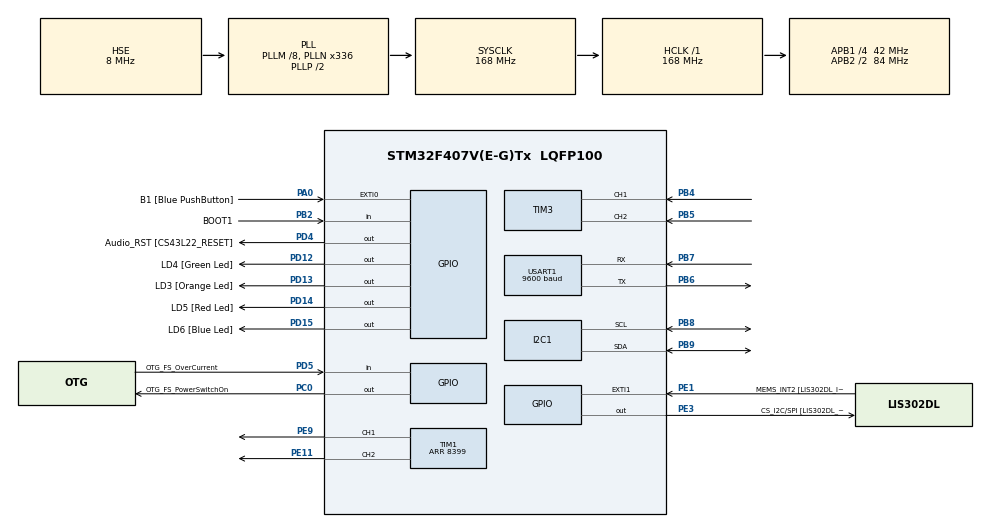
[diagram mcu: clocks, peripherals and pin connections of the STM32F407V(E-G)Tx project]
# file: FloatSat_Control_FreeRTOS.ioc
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FREERTOS.Tasks01=SensorTask,40,512,StartSensorTask,As weak,NULL,Dynamic,NULL,NULL;ControlTask,40,512,StartControlTask,As weak,NULL,Dynamic,NULL,NULL;SupervisorTask,32,384,StartSupervisorTask,As weak,NULL,Dynamic,NULL,NULL;MissionTask,24,384,StartMissionTask,As weak,NULL,Dynamic,NULL,NULL;TelemetryTask,8,256,StartTelemetryTask,As weak,NULL,Dynamic,NULL,NULL
FREERTOS.configTOTAL_HEAP_SIZE=32768
FREERTOS.configUSE_NEWLIB_REENTRANT=1
Mcu.Family=STM32F4
Mcu.Name=STM32F407V(E-G)Tx
Mcu.Package=LQFP100
NVIC.PriorityGroup=NVIC_PRIORITYGROUP_4
NVIC.TIM6_DAC_IRQn=true\:15\:0\:true\:false\:true\:false\:false\:true\:true
NVIC.TimeBase=TIM6_DAC_IRQn
NVIC.TimeBaseIP=TIM6
PA0-WKUP.GPIO_Label=B1 [Blue PushButton]
PA0-WKUP.Signal=GPXTI0
PA10.GPIO_Label=OTG_FS_ID
PA10.GPIO_Mode=GPIO_MODE_AF_PP
PA10.GPIO_PuPd=GPIO_NOPULL
PA10.GPIO_Speed=GPIO_SPEED_FREQ_LOW
PA10.Signal=USB_OTG_FS_ID
PA11.GPIO_Label=OTG_FS_DM
PA11.GPIO_Mode=GPIO_MODE_AF_PP
PA11.GPIO_PuPd=GPIO_NOPULL
PA11.GPIO_Speed=GPIO_SPEED_FREQ_LOW
PA11.Signal=USB_OTG_FS_DM
PA12.GPIO_Label=OTG_FS_DP
PA12.GPIO_Mode=GPIO_MODE_AF_PP
PA12.GPIO_PuPd=GPIO_NOPULL
PA12.GPIO_Speed=GPIO_SPEED_FREQ_LOW
PA12.Signal=USB_OTG_FS_DP
PA13.GPIO_Label=SWDIO
PA13.Mode=Serial_Wire
PA13.Signal=SYS_JTMS-SWDIO
PA14.GPIO_Label=SWCLK
PA14.Mode=Serial_Wire
PA14.Signal=SYS_JTCK-SWCLK
PA4.GPIO_Label=I2S3_WS [CS43L22_LRCK]
PA4.GPIO_Mode=GPIO_MODE_AF_PP
PA4.GPIO_PuPd=GPIO_NOPULL
PA4.GPIO_Speed=GPIO_SPEED_FREQ_LOW
PA4.Signal=I2S3_WS
PA6.GPIO_Label=SPI1_MISO [LIS302DL_SDO]
PA6.GPIO_Mode=GPIO_MODE_AF_PP
PA6.GPIO_PuPd=GPIO_NOPULL
PA6.GPIO_Speed=GPIO_SPEED_FREQ_LOW
PA6.Signal=SPI1_MISO
PA7.GPIO_Label=SPI1_MOSI [LIS302DL_SDA/SDI/SDO]
PA7.GPIO_Mode=GPIO_MODE_AF_PP
PA7.GPIO_PuPd=GPIO_NOPULL
PA7.GPIO_Speed=GPIO_SPEED_FREQ_LOW
PA7.Signal=SPI1_MOSI
PA9.GPIO_Label=VBUS_FS
PA9.GPIO_Mode=GPIO_MODE_INPUT
PA9.GPIO_PuPd=GPIO_NOPULL
PA9.Signal=USB_OTG_FS_VBUS
PB10.GPIO_Label=CLK_IN [MP45DT02_CLK]
PB10.GPIO_Mode=GPIO_MODE_AF_PP
PB10.GPIO_PuPd=GPIO_NOPULL
PB10.GPIO_Speed=GPIO_SPEED_FREQ_LOW
PB10.Signal=I2S2_CK
PB2.GPIO_Label=BOOT1
PB2.GPIO_Mode=GPIO_MODE_INPUT
PB2.GPIO_PuPd=GPIO_NOPULL
PB2.Signal=GPIO_Input
PB3.GPIO_Label=SWO
PB3.Signal=SYS_JTDO-SWO
PB4.Signal=S_TIM3_CH1
PB5.Signal=S_TIM3_CH2
PB6.Mode=Asynchronous
PB6.Signal=USART1_TX
PB7.Mode=Asynchronous
PB7.Signal=USART1_RX
PB8.Mode=I2C
PB8.Signal=I2C1_SCL
PB9.Mode=I2C
PB9.Signal=I2C1_SDA
PC0.GPIO_Label=OTG_FS_PowerSwitchOn
PC0.GPIO_PuPd=GPIO_NOPULL
PC0.GPIO_Speed=GPIO_SPEED_FREQ_LOW
PC0.PinState=GPIO_PIN_SET
PC0.Signal=GPIO_Output
PC10.GPIO_Label=I2S3_SCK [CS43L22_SCLK]
PC10.GPIO_Mode=GPIO_MODE_AF_PP
PC10.GPIO_PuPd=GPIO_NOPULL
PC10.GPIO_Speed=GPIO_SPEED_FREQ_LOW
PC10.Signal=I2S3_CK
PC12.GPIO_Label=I2S3_SD [CS43L22_SDIN]
PC12.GPIO_Mode=GPIO_MODE_AF_PP
PC12.GPIO_PuPd=GPIO_NOPULL
PC12.GPIO_Speed=GPIO_SPEED_FREQ_LOW
PC12.Signal=I2S3_SD
PC14-OSC32_IN.GPIO_Label=PC14-OSC32_IN
PC14-OSC32_IN.Signal=RCC_OSC32_IN
PC15-OSC32_OUT.GPIO_Label=PC15-OSC32_OUT
PC15-OSC32_OUT.Signal=RCC_OSC32_OUT
PC3.GPIO_Label=PDM_OUT [MP45DT02_DOUT]
PC3.GPIO_Mode=GPIO_MODE_AF_PP
PC3.GPIO_PuPd=GPIO_NOPULL
PC3.GPIO_Speed=GPIO_SPEED_FREQ_LOW
PC3.Signal=I2S2_SD
PC7.GPIO_Label=I2S3_MCK [CS43L22_MCLK]
PC7.GPIO_Mode=GPIO_MODE_AF_PP
PC7.GPIO_PuPd=GPIO_NOPULL
PC7.GPIO_Speed=GPIO_SPEED_FREQ_LOW
PC7.Signal=I2S3_MCK
PD12.GPIO_Label=LD4 [Green Led]
PD12.GPIO_PuPd=GPIO_NOPULL
PD12.GPIO_Speed=GPIO_SPEED_FREQ_LOW
PD12.Signal=GPIO_Output
PD13.GPIO_Label=LD3 [Orange Led]
PD13.GPIO_PuPd=GPIO_NOPULL
PD13.GPIO_Speed=GPIO_SPEED_FREQ_LOW
PD13.Signal=GPIO_Output
PD14.GPIO_Label=LD5 [Red Led]
PD14.GPIO_PuPd=GPIO_NOPULL
PD14.GPIO_Speed=GPIO_SPEED_FREQ_LOW
PD14.Signal=GPIO_Output
PD15.GPIO_Label=LD6 [Blue Led]
PD15.GPIO_PuPd=GPIO_NOPULL
PD15.GPIO_Speed=GPIO_SPEED_FREQ_LOW
PD15.Signal=GPIO_Output
PD4.GPIO_Label=Audio_RST [CS43L22_RESET]
PD4.GPIO_PuPd=GPIO_NOPULL
PD4.GPIO_Speed=GPIO_SPEED_FREQ_LOW
PD4.Signal=GPIO_Output
PD5.GPIO_Label=OTG_FS_OverCurrent
PD5.GPIO_Mode=GPIO_MODE_INPUT
PD5.GPIO_PuPd=GPIO_NOPULL
PD5.Signal=GPIO_Input
PE1.GPIO_Label=MEMS_INT2 [LIS302DL_INT2]
PE1.GPIO_ModeDefaultEXTI=GPIO_MODE_EVT_RISING
PE1.GPIO_PuPd=GPIO_NOPULL
PE1.Signal=GPXTI1
PE11.Signal=S_TIM1_CH2
PE3.GPIO_Label=CS_I2C/SPI [LIS302DL_CS_I2C/SPI]
PE3.GPIO_PuPd=GPIO_NOPULL
PE3.GPIO_Speed=GPIO_SPEED_FREQ_LOW
PE3.Signal=GPIO_Output
PE9.Signal=S_TIM1_CH1
PH0-OSC_IN.GPIO_Label=PH0-OSC_IN
PH0-OSC_IN.Mode=HSE-External-Clock-Source
PH0-OSC_IN.Signal=RCC_OSC_IN
PH1-OSC_OUT.GPIO_Label=PH1-OSC_OUT
PH1-OSC_OUT.Mode=HSE-External-Clock-Source
PH1-OSC_OUT.Signal=RCC_OSC_OUT
ProjectManager.HeapSize=0x200
ProjectManager.StackSize=0x400
ProjectManager.TargetToolchain=STM32CubeIDE
RCC.48MHZClocksFreq_Value=48000000
RCC.AHBFreq_Value=168000000
RCC.APB1CLKDivider=RCC_HCLK_DIV4
RCC.APB1Freq_Value=42000000
RCC.APB1TimFreq_Value=84000000
RCC.APB2CLKDivider=RCC_HCLK_DIV2
RCC.APB2Freq_Value=84000000
RCC.APB2TimFreq_Value=168000000
RCC.CortexFreq_Value=168000000
RCC.HCLKFreq_Value=168000000
RCC.HSE_VALUE=8000000
RCC.HSI_VALUE=16000000
RCC.LSE_VALUE=32768
RCC.PLLM=8
RCC.PLLN=336
RCC.PLLQ=7
RCC.PLLSourceVirtual=RCC_PLLSOURCE_HSE
RCC.SYSCLKFreq_VALUE=168000000
RCC.SYSCLKSource=RCC_SYSCLKSOURCE_PLLCLK
RCC.VCOOutputFreq_Value=336000000
SH.S_TIM1_CH1.0=TIM1_CH1,PWM Generation1 CH1
SH.S_TIM1_CH2.0=TIM1_CH2,PWM Generation2 CH2
SH.S_TIM3_CH1.0=TIM3_CH1,Encoder_Interface
SH.S_TIM3_CH2.0=TIM3_CH2,Encoder_Interface
TIM1.AutoReloadPreload=TIM_AUTORELOAD_PRELOAD_ENABLE
TIM1.Channel-PWM\ Generation1\ CH1=TIM_CHANNEL_1
TIM1.Channel-PWM\ Generation2\ CH2=TIM_CHANNEL_2
TIM1.OC1Preload_PWM=ENABLE
TIM1.OC2Preload_PWM=ENABLE
TIM1.Period=8399
TIM3.EncoderMode=TIM_ENCODERMODE_TI12
TIM3.IC1Filter=4
USART1.BaudRate=9600
USART1.VirtualMode=VM_ASYNC
VP_FREERTOS_VS_CMSIS_V2.Mode=CMSIS_V2
VP_SYS_VS_tim6.Mode=TIM6
VP_TIM1_VS_ClockSourceINT.Mode=Internal
board=STM32F407G-DISC1

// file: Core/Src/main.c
/* USER CODE BEGIN Header */
/**
  ******************************************************************************
  * @file           : main.c
  * @brief          : Punto de entrada principal de la aplicación.
  *
  * Este archivo realiza la secuencia general de arranque:
  *
  *   1. Inicializa la biblioteca HAL.
  *   2. Configura el reloj del microcontrolador.
  *   3. Inicializa GPIO, I2C, temporizadores y UART.
  *   4. Inicializa el kernel de FreeRTOS.
  *   5. Crea las tareas y objetos del sistema.
  *   6. Inicia el planificador de FreeRTOS.
  *
  * Después de iniciar el scheduler, la ejecución normal queda repartida
  * entre las tareas definidas en freertos.c.
  ******************************************************************************
  * @attention
  *
  * Copyright (c) 2026 STMicroelectronics.
  * All rights reserved.
  *
  * This software is licensed under terms that can be found in the LICENSE file
  * in the root directory of this software component.
  * If no LICENSE file comes with this software, it is provided AS-IS.
  *
  ******************************************************************************
  */
/* USER CODE END Header */

/*
 * main.h contiene:
 *
 *   - Definiciones generales del proyecto.
 *   - Nombres de pines y puertos GPIO.
 *   - Prototipo de Error_Handler().
 *   - Inclusión principal de la biblioteca HAL.
 */
#include "main.h"

/*
 * cmsis_os.h proporciona la API CMSIS-RTOS utilizada para:
 *
 *   - Inicializar el kernel.
 *   - Crear tareas.
 *   - Iniciar el scheduler.
 *   - Aplicar retardos desde las tareas.
 */
#include "cmsis_os.h"

/*
 * Declaraciones de:
 *
 *   hi2c1
 *   MX_I2C1_Init()
 *
 * I2C1 se utiliza para comunicarse con la IMU.
 */
#include "i2c.h"

/*
 * Declaraciones de los temporizadores configurados.
 *
 * En este proyecto:
 *
 *   TIM1 se utiliza para generar PWM del motor.
 *   TIM3 se utiliza para la lectura del encoder.
 */
#include "tim.h"

/*
 * Declaraciones del periférico UART.
 *
 * USART1 se utiliza para comunicación serial, por ejemplo con el HC-05
 * o para transmisión de telemetría.
 */
#include "usart.h"

/*
 * Declaración de MX_GPIO_Init() y definiciones de los GPIO utilizados.
 */
#include "gpio.h"

/* USER CODE BEGIN Includes */

/*
 * Espacio reservado para incluir librerías adicionales.
 *
 * El contenido colocado aquí será conservado por STM32CubeMX.
 */

/* USER CODE END Includes */

/* USER CODE BEGIN PTD */

/*
 * Espacio reservado para declarar tipos privados:
 *
 *   typedef struct
 *   typedef enum
 *   alias de tipos
 */

/* USER CODE END PTD */

/* USER CODE BEGIN PD */

/*
 * Espacio reservado para constantes privadas definidas mediante #define.
 */

/* USER CODE END PD */

/* USER CODE BEGIN PM */

/*
 * Espacio reservado para macros privadas.
 */

/* USER CODE END PM */

/*
 * No existen variables privadas generadas directamente en este archivo.
 *
 * Las variables principales del sistema se encuentran en otros módulos,
 * especialmente freertos.c y los drivers correspondientes.
 */

/* USER CODE BEGIN PV */

/*
 * Espacio reservado para variables privadas del usuario.
 */

/* USER CODE END PV */

/*
 * Configura los osciladores, PLL y divisores de los buses.
 */
void SystemClock_Config(void);

/*
 * Inicializa los objetos de FreeRTOS y crea las tareas.
 *
 * Su implementación está en freertos.c.
 */
void MX_FREERTOS_Init(void);

/* USER CODE BEGIN PFP */

/*
 * Espacio reservado para prototipos de funciones privadas adicionales.
 */

/* USER CODE END PFP */

/* USER CODE BEGIN 0 */

/*
 * Espacio reservado para funciones auxiliares o código privado
 * colocado antes de main().
 */

/* USER CODE END 0 */

/**
  * @brief Punto de entrada principal de la aplicación.
  *
  * La función main() solamente realiza la configuración inicial.
  * Después de iniciar FreeRTOS, la lógica permanente se ejecuta
  * dentro de las diferentes tareas.
  *
  * @retval int
  *         En funcionamiento normal esta función nunca retorna.
  */
int main(void)
{
  /* USER CODE BEGIN 1 */

  /*
   * Espacio reservado para variables locales o instrucciones que deban
   * ejecutarse antes de HAL_Init().
   *
   * En esta etapa todavía no se han inicializado los periféricos.
   */

  /* USER CODE END 1 */

  /* MCU Configuration--------------------------------------------------------*/

  /*
   * Inicializar la biblioteca HAL.
   *
   * HAL_Init() realiza tareas básicas como:
   *
   *   - Reinicializar el estado de los periféricos HAL.
   *   - Configurar la base de tiempo utilizada por HAL.
   *   - Configurar prioridades iniciales del sistema.
   *   - Inicializar aspectos básicos del controlador de Flash.
   *
   * En este proyecto, el incremento del tick HAL se realiza mediante TIM6,
   * como se observa en HAL_TIM_PeriodElapsedCallback().
   */
  HAL_Init();

  /* USER CODE BEGIN Init */

  /*
   * Espacio reservado para código inmediatamente posterior a HAL_Init()
   * y anterior a la configuración del reloj principal.
   */

  /* USER CODE END Init */

  /*
   * Configurar el reloj del microcontrolador.
   *
   * Esta función selecciona:
   *
   *   - Fuente HSE externa en modo bypass.
   *   - PLL como multiplicador principal.
   *   - Divisores de AHB, APB1 y APB2.
   */
  SystemClock_Config();

  /* USER CODE BEGIN SysInit */

  /*
   * Espacio reservado para código posterior a la configuración del reloj
   * y anterior a la inicialización de los periféricos.
   */

  /* USER CODE END SysInit */

  /* Initialize all configured peripherals */

  /*
   * Inicializar todos los GPIO:
   *
   *   - LEDs.
   *   - Botón.
   *   - USB.
   *   - Pines de audio.
   *   - Pines con funciones alternativas.
   */
  MX_GPIO_Init();

  /*
   * Inicializar I2C1:
   *
   *   PB8 -> SCL.
   *   PB9 -> SDA.
   *   Frecuencia -> 100 kHz.
   *
   * Se utiliza para la comunicación con la IMU.
   */
  MX_I2C1_Init();

  /*
   * Inicializar TIM1.
   *
   * En el proyecto FloatSat, TIM1 proporciona los dos canales PWM
   * utilizados para controlar los sentidos del motor.
   *
   * Esta función configura el temporizador, pero el inicio de los canales
   * PWM suele realizarse posteriormente mediante HAL_TIM_PWM_Start().
   */
  MX_TIM1_Init();

  /*
   * Inicializar TIM3.
   *
   * En el proyecto se utiliza como interfaz de encoder.
   *
   * Esta función configura el periférico, pero el conteo debe iniciarse
   * posteriormente con la función HAL correspondiente.
   */
  MX_TIM3_Init();

  /*
   * Inicializar USART1.
   *
   * Se utiliza para comunicación serial y telemetría.
   */
  MX_USART1_UART_Init();

  /* USER CODE BEGIN 2 */

  /*
   * Espacio reservado para código posterior a la inicialización
   * de todos los periféricos y anterior a FreeRTOS.
   *
   * En esta sección podrían iniciarse periféricos que deban estar activos
   * antes del scheduler, siempre que no se utilicen funciones RTOS.
   */

  /* USER CODE END 2 */

  /* Init scheduler */

  /*
   * Inicializar el kernel CMSIS-RTOS.
   *
   * Después de esta llamada pueden crearse tareas, colas, mutexes
   * y otros objetos del sistema operativo.
   *
   * El scheduler todavía no comienza a ejecutar tareas.
   */
  osKernelInitialize();

  /*
   * Crear los objetos de FreeRTOS definidos en freertos.c.
   *
   * En el código mostrado anteriormente esta función crea:
   *
   *   - SensorTask.
   *   - ControlTask.
   *   - SupervisorTask.
   *   - MissionTask.
   *   - TelemetryTask.
   */
  MX_FREERTOS_Init();

  /* Start scheduler */

  /*
   * Iniciar el scheduler de FreeRTOS.
   *
   * A partir de este punto, el kernel selecciona qué tarea debe ejecutarse
   * según su prioridad y estado.
   *
   * En funcionamiento normal, osKernelStart() no retorna.
   */
  osKernelStart();

  /*
   * Si la ejecución llega hasta aquí, significa que el scheduler:
   *
   *   - No pudo iniciar.
   *   - Terminó de forma inesperada.
   *   - Se produjo algún problema grave de configuración.
   */

  /* Infinite loop */
  /* USER CODE BEGIN WHILE */

  /*
   * Bucle de seguridad.
   *
   * No debería ejecutarse durante el funcionamiento normal porque
   * el control debería permanecer en FreeRTOS.
   */
  while (1)
  {
    /* USER CODE END WHILE */

    /* USER CODE BEGIN 3 */

    /*
     * Espacio reservado para código dentro del bucle de seguridad.
     *
     * No es recomendable colocar aquí lógica normal de la aplicación,
     * porque no se ejecutará mientras el scheduler funcione correctamente.
     */

  }

  /* USER CODE END 3 */
}

/* -------------------------------------------------------------------------- */
/* Configuración del reloj del sistema                                        */
/* -------------------------------------------------------------------------- */

/**
  * @brief Configura el reloj principal del STM32.
  *
  * La configuración utiliza:
  *
  *   - HSE externo en modo bypass.
  *   - PLL activado.
  *   - PLL como fuente del reloj del sistema.
  *
  * Parámetros:
  *
  *   PLLM = 8
  *   PLLN = 336
  *   PLLP = 2
  *   PLLQ = 7
  *
  * Si la entrada HSE es de 8 MHz:
  *
  *   PLL entrada = 8 MHz / 8 = 1 MHz
  *   PLL VCO     = 1 MHz × 336 = 336 MHz
  *   SYSCLK      = 336 MHz / 2 = 168 MHz
  *   USB clock   = 336 MHz / 7 = 48 MHz
  *
  * @retval None
  */
void SystemClock_Config(void)
{
  /*
   * Estructura que contiene la configuración de los osciladores
   * y del PLL.
   */
  RCC_OscInitTypeDef RCC_OscInitStruct = {0};

  /*
   * Estructura que contiene la fuente del reloj del sistema
   * y los divisores de los buses.
   */
  RCC_ClkInitTypeDef RCC_ClkInitStruct = {0};

  /*
   * Habilitar el reloj del bloque de alimentación PWR.
   *
   * Es necesario para configurar la escala de voltaje interna.
   */
  __HAL_RCC_PWR_CLK_ENABLE();

  /*
   * Seleccionar Voltage Scale 1.
   *
   * Esta escala permite operar el STM32F4 a las frecuencias más altas
   * previstas por esta configuración.
   */
  __HAL_PWR_VOLTAGESCALING_CONFIG(
      PWR_REGULATOR_VOLTAGE_SCALE1);

  /*
   * Seleccionar el oscilador externo de alta velocidad HSE.
   */
  RCC_OscInitStruct.OscillatorType =
      RCC_OSCILLATORTYPE_HSE;

  /*
   * Configurar HSE en modo bypass.
   *
   * En este modo el STM32 espera recibir una señal de reloj externa
   * ya generada, en lugar de controlar directamente un cristal.
   */
  RCC_OscInitStruct.HSEState =
      RCC_HSE_BYPASS;

  /*
   * Activar el PLL.
   */
  RCC_OscInitStruct.PLL.PLLState =
      RCC_PLL_ON;

  /*
   * Utilizar HSE como fuente de entrada del PLL.
   */
  RCC_OscInitStruct.PLL.PLLSource =
      RCC_PLLSOURCE_HSE;

  /*
   * Dividir la frecuencia de entrada HSE entre 8 antes de entrar al PLL.
   */
  RCC_OscInitStruct.PLL.PLLM = 8;

  /*
   * Multiplicar la frecuencia resultante por 336.
   */
  RCC_OscInitStruct.PLL.PLLN = 336;

  /*
   * Dividir la salida principal del PLL entre 2 para producir SYSCLK.
   */
  RCC_OscInitStruct.PLL.PLLP =
      RCC_PLLP_DIV2;

  /*
   * Dividir la salida VCO del PLL entre 7.
   *
   * Este reloj se utiliza para periféricos que requieren 48 MHz,
   * como USB OTG FS.
   */
  RCC_OscInitStruct.PLL.PLLQ = 7;

  /*
   * Aplicar la configuración de osciladores y PLL.
   */
  if (HAL_RCC_OscConfig(&RCC_OscInitStruct) != HAL_OK)
  {
    /*
     * Si el oscilador o PLL no pueden configurarse, detener el sistema.
     */
    Error_Handler();
  }

  /*
   * Seleccionar qué relojes serán configurados:
   *
   *   SYSCLK -> reloj principal.
   *   HCLK   -> bus AHB y CPU.
   *   PCLK1  -> bus APB1.
   *   PCLK2  -> bus APB2.
   */
  RCC_ClkInitStruct.ClockType =
      RCC_CLOCKTYPE_HCLK |
      RCC_CLOCKTYPE_SYSCLK |
      RCC_CLOCKTYPE_PCLK1 |
      RCC_CLOCKTYPE_PCLK2;

  /*
   * Utilizar la salida del PLL como reloj principal del sistema.
   */
  RCC_ClkInitStruct.SYSCLKSource =
      RCC_SYSCLKSOURCE_PLLCLK;

  /*
   * AHB sin división:
   *
   *   HCLK = SYSCLK
   *
   * Con SYSCLK de 168 MHz:
   *
   *   HCLK = 168 MHz
   */
  RCC_ClkInitStruct.AHBCLKDivider =
      RCC_SYSCLK_DIV1;

  /*
   * Dividir HCLK entre 4 para APB1:
   *
   *   PCLK1 = 168 MHz / 4 = 42 MHz
   *
   * APB1 alimenta periféricos como:
   *
   *   - I2C1.
   *   - TIM3.
   *   - USART2/3.
   */
  RCC_ClkInitStruct.APB1CLKDivider =
      RCC_HCLK_DIV4;

  /*
   * Dividir HCLK entre 2 para APB2:
   *
   *   PCLK2 = 168 MHz / 2 = 84 MHz
   *
   * APB2 alimenta periféricos como:
   *
   *   - TIM1.
   *   - USART1.
   *   - SPI1.
   */
  RCC_ClkInitStruct.APB2CLKDivider =
      RCC_HCLK_DIV2;

  /*
   * Aplicar la configuración de relojes.
   *
   * FLASH_LATENCY_5 configura cinco estados de espera de Flash,
   * necesarios para trabajar a la frecuencia seleccionada.
   */
  if (HAL_RCC_ClockConfig(
          &RCC_ClkInitStruct,
          FLASH_LATENCY_5) != HAL_OK)
  {
    Error_Handler();
  }
}

/* USER CODE BEGIN 4 */

/*
 * Espacio reservado para funciones adicionales del usuario.
 *
 * El contenido será conservado por STM32CubeMX.
 */

/* USER CODE END 4 */

/* -------------------------------------------------------------------------- */
/* Callback de la base de tiempo HAL                                          */
/* -------------------------------------------------------------------------- */

/**
  * @brief Callback ejecutado al completarse un periodo de temporizador.
  *
  * Esta función es llamada desde HAL_TIM_IRQHandler().
  *
  * En este proyecto, TIM6 se utiliza como base de tiempo de HAL.
  * Cada interrupción de TIM6 incrementa la variable global uwTick.
  *
  * uwTick es utilizada por funciones como:
  *
  *   HAL_GetTick()
  *   HAL_Delay()
  *   timeouts de HAL_I2C
  *   timeouts de HAL_UART
  *
  * @param htim Puntero al manejador del temporizador que generó
  *             la interrupción.
  *
  * @retval None
  */
void HAL_TIM_PeriodElapsedCallback(
    TIM_HandleTypeDef *htim)
{
  /* USER CODE BEGIN Callback 0 */

  /*
   * Espacio reservado para código que deba ejecutarse antes
   * de la lógica generada.
   *
   * Este callback se ejecuta en contexto de interrupción.
   * No deben utilizarse aquí funciones bloqueantes como osDelay().
   */

  /* USER CODE END Callback 0 */

  /*
   * Comprobar que la interrupción proviene específicamente de TIM6.
   */
  if (htim->Instance == TIM6)
  {
    /*
     * Incrementar el contador de tiempo de HAL en un tick.
     *
     * Normalmente el tick está configurado para representar 1 ms.
     */
    HAL_IncTick();
  }

  /* USER CODE BEGIN Callback 1 */

  /*
   * Espacio reservado para código posterior al incremento del tick.
   *
   * También se ejecuta en contexto de interrupción.
   */

  /* USER CODE END Callback 1 */
}

/* -------------------------------------------------------------------------- */
/* Manejador general de errores                                               */
/* -------------------------------------------------------------------------- */

/**
  * @brief Se ejecuta cuando ocurre un error crítico de inicialización.
  *
  * La implementación actual:
  *
  *   1. Deshabilita todas las interrupciones.
  *   2. Entra en un bucle infinito.
  *
  * Esto detiene completamente la ejecución del sistema para evitar
  * continuar con una configuración inválida.
  *
  * @retval None
  */
void Error_Handler(void)
{
  /* USER CODE BEGIN Error_Handler_Debug */

  /*
   * Deshabilitar globalmente las interrupciones.
   *
   * Después de esta instrucción:
   *
   *   - FreeRTOS no puede realizar cambios de tarea.
   *   - Los temporizadores no ejecutan callbacks.
   *   - La comunicación por interrupciones queda detenida.
   */
  __disable_irq();

  /*
   * Permanecer bloqueado indefinidamente.
   */
  while (1)
  {
    /*
     * Aquí podrían agregarse señales de diagnóstico, aunque con las
     * interrupciones deshabilitadas solo deberían usarse operaciones
     * directas y no bloqueantes.
     */
  }

  /* USER CODE END Error_Handler_Debug */
}

/* -------------------------------------------------------------------------- */
/* Diagnóstico de aserciones HAL                                              */
/* -------------------------------------------------------------------------- */

#ifdef USE_FULL_ASSERT

/**
  * @brief Informa dónde ocurrió una aserción inválida.
  *
  * Esta función solo se compila cuando USE_FULL_ASSERT está definido.
  *
  * Las macros assert_param() de HAL pueden llamar esta función cuando
  * reciben un parámetro fuera del rango permitido.
  *
  * @param file Nombre del archivo fuente donde ocurrió el error.
  * @param line Número de línea donde ocurrió el error.
  *
  * @retval None
  */
void assert_failed(uint8_t *file,
                   uint32_t line)
{
  /* USER CODE BEGIN 6 */

  /*
   * Espacio reservado para reportar el error.
   *
   * Ejemplo:
   *
   * printf("Parametro incorrecto: archivo %s, linea %lu\r\n",
   *        file,
   *        line);
   *
   * En la implementación actual no se realiza ninguna acción.
   */

  /*
   * Los parámetros no se utilizan actualmente.
   *
   * Dependiendo de las opciones del compilador, esto podría generar
   * advertencias por parámetros sin usar.
   */

  /* USER CODE END 6 */
}

#endif /* USE_FULL_ASSERT */

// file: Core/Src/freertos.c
/* USER CODE BEGIN Header */
/**
  ******************************************************************************
  * File Name          : freertos.c
  * Description        : Inicialización y elementos asociados a FreeRTOS.
  *
  * Este archivo contiene:
  *
  *   - Definición y creación de las tareas del sistema.
  *   - Variables globales de diagnóstico y telemetría.
  *   - Parámetros generales del FloatSat.
  *   - Funciones auxiliares para controlar el motor.
  *   - Función de recuperación del bus I2C1.
  *
  * Las secciones delimitadas por USER CODE BEGIN / END son conservadas
  * por STM32CubeMX cuando se vuelve a generar el código.
  ******************************************************************************
  */
/* USER CODE END Header */

/*
 * FreeRTOS.h:
 * definiciones principales del kernel FreeRTOS.
 */
#include "FreeRTOS.h"

/*
 * task.h:
 * API nativa de tareas de FreeRTOS.
 */
#include "task.h"

/*
 * main.h:
 * definiciones generales del proyecto, pines, GPIO y funciones globales.
 */
#include "main.h"

/*
 * cmsis_os.h:
 * capa CMSIS-RTOS utilizada para crear tareas mediante osThreadNew(),
 * aplicar retardos mediante osDelay(), etc.
 */
#include "cmsis_os.h"

/* USER CODE BEGIN Includes */

/*
 * tim.h:
 * declara los manejadores de temporizadores, especialmente htim1,
 * utilizado para generar el PWM del motor.
 */
#include "tim.h"

/*
 * gpio.h:
 * declara la inicialización y configuración general de los GPIO.
 */
#include "gpio.h"

/*
 * i2c.h:
 * declara hi2c1 y MX_I2C1_Init(), utilizados para comunicarse con la IMU.
 */
#include "i2c.h"

/*
 * Driver de lectura y configuración de la IMU LSM9DS1.
 */
#include "floatsat_imu.h"

/*
 * Cálculo de orientación instantánea mediante acelerómetro y magnetómetro.
 */
#include "floatsat_orientation.h"

/*
 * Calibración del magnetómetro mediante mínimos, máximos, bias y escalas.
 */
#include "floatsat_mag_calibration.h"

/*
 * Calibración del bias del giroscopio.
 */
#include "floatsat_gyro_calibration.h"

/*
 * Filtro Madgwick para estimar la orientación mediante cuaterniones.
 */
#include "floatsat_madgwick.h"

/*
 * Máquina de estados, control de yaw y secuencia de misión.
 */
#include "floatsat_mission.h"

/*
 * Verificación de que floatsat_mission.h define la versión de su API.
 *
 * Sin esta constante podría estar utilizándose un archivo de cabecera
 * antiguo que no coincida con mission.c o freertos.c.
 */
#ifndef FS_MISSION_API_VERSION
#error "Header floatsat_mission.h incorrecto. Reemplace los tres archivos del paquete API v2."
#endif

/*
 * Este freertos.c requiere exactamente la API 3.0:
 *
 *   0x0300U
 */
#if (FS_MISSION_API_VERSION != 0x0300U)
#error "Version incompatible de floatsat_mission.h. Use el paquete API V3 completo."
#endif

/* USER CODE END Includes */

/* USER CODE BEGIN PTD */

/*
 * Los tipos relacionados con la misión, como:
 *
 *   FS_Mission_t
 *   FS_MissionState_t
 *   FS_MissionInput_t
 *   FS_MissionOutput_t
 *
 * están declarados en floatsat_mission.h.
 */

/* USER CODE END PTD */

/* USER CODE BEGIN PD */

/*
 * Periodo previsto para el ciclo de control del motor.
 *
 * 10 ms equivale a una frecuencia de:
 *
 *   1 / 0.010 s = 100 Hz
 */
#define FS_MOTOR_CONTROL_PERIOD_MS           10U

/*
 * Duración de la calibración del magnetómetro.
 *
 * 30000 ms = 30 segundos.
 */
#define FS_MAG_CALIBRATION_DURATION_MS       30000U

/*
 * Parámetros de calibración magnética previamente obtenidos.
 *
 * Los bias corrigen desplazamientos de hard-iron:
 *
 *   corregido = valor_original - bias
 *
 * Los factores de escala compensan diferencias entre ejes:
 *
 *   corregido = (valor_original - bias) * escala
 */
#define FS_MAG_PRESET_BIAS_X_GAUSS           (0.030520f)
#define FS_MAG_PRESET_BIAS_Y_GAUSS           (0.485310f)
#define FS_MAG_PRESET_BIAS_Z_GAUSS           (0.017780f)

#define FS_MAG_PRESET_SCALE_X                 (0.954103f)
#define FS_MAG_PRESET_SCALE_Y                 (1.120244f)
#define FS_MAG_PRESET_SCALE_Z                 (0.944080f)

/*
 * Calidad registrada durante la calibración que produjo
 * los parámetros anteriores.
 */
#define FS_MAG_PRESET_QUALITY                 (0.842745f)

/*
 * Cantidad de muestras válidas requeridas para calcular
 * el bias del giroscopio.
 *
 * A 100 Hz:
 *
 *   500 muestras = aproximadamente 5 segundos.
 */
#define FS_GYRO_CALIBRATION_TARGET_SAMPLES    500U

/*
 * Tiempo máximo permitido para terminar la calibración del giroscopio.
 */
#define FS_GYRO_CALIBRATION_TIMEOUT_MS        20000U

/*
 * Parámetros del filtro Madgwick.
 *
 * Un periodo de 0.010 s corresponde a 100 Hz.
 */
#define FS_MADGWICK_SAMPLE_PERIOD_S           (0.010f)

/*
 * Ganancia de corrección del filtro.
 *
 * Un beta mayor produce correcciones más rápidas, pero puede aumentar
 * la sensibilidad al ruido del acelerómetro y magnetómetro.
 */
#define FS_MADGWICK_BETA_DEFAULT              (0.100f)

/* USER CODE END PD */

/* USER CODE BEGIN PM */

/*
 * No se han definido macros privadas adicionales.
 */

/* USER CODE END PM */

/* USER CODE BEGIN Variables */

/*
 * La mayoría de estas variables son volatile porque pueden ser:
 *
 *   - Modificadas por una tarea.
 *   - Leídas por otra tarea.
 *   - Observadas mediante Live Expressions del depurador.
 *
 * volatile obliga al compilador a acceder realmente a memoria cada vez,
 * pero por sí solo no proporciona exclusión mutua entre tareas.
 */

/* -------------------------------------------------------------------------- */
/* Estado general de las misiones                                             */
/* -------------------------------------------------------------------------- */

/*
 * Habilitación general de la misión.
 *
 *   1U = misión habilitada.
 *   0U = misión deshabilitada y motor detenido.
 */
volatile uint8_t fs_mission_enable = 1U;

/*
 * Estado actual de la máquina de estados de misión.
 */
volatile FS_MissionState_t fs_mission_state =
    FS_MISSION_WAIT_READY;

/*
 * Indica si toda la cadena de actitud es válida:
 *
 *   IMU + calibraciones + Madgwick.
 */
volatile uint8_t fs_mission_attitude_chain_ok = 0U;

/*
 * Indica si el FloatSat se encuentra suficientemente nivelado.
 */
volatile uint8_t fs_mission_level_ok = 0U;

/*
 * Indica si se cumplen todas las condiciones necesarias para iniciar.
 */
volatile uint8_t fs_mission_initial_ready = 0U;

/*
 * Índice del objetivo actual de yaw de la misión 1.
 */
volatile uint8_t fs_mission_target_index = 0U;

/*
 * Bandera de finalización completa de las misiones.
 */
volatile uint8_t fs_mission_complete = 0U;

/*
 * Ángulo de yaw que la misión intenta alcanzar.
 */
volatile float fs_mission_target_yaw_deg = 0.0f;

/*
 * Diferencia angular entre el objetivo y el yaw actual.
 */
volatile float fs_mission_yaw_error_deg = 0.0f;

/*
 * Tiempo transcurrido dentro del estado actual.
 */
volatile uint32_t fs_mission_state_elapsed_ms = 0U;

/*
 * Cantidad de objetivos de yaw que agotaron su tiempo máximo.
 */
volatile uint32_t fs_mission_target_timeout_count = 0U;

/*
 * Contador previsto para timeouts de frenado.
 */
volatile uint32_t fs_mission_brake_timeout_count = 0U;

/* -------------------------------------------------------------------------- */
/* Motor y encoder                                                           */
/* -------------------------------------------------------------------------- */

/*
 * Valor escrito en el registro de comparación del temporizador PWM.
 */
volatile uint16_t fs_motor_pwm_compare = 0U;

/*
 * Magnitud del duty actualmente aplicado, entre 0 y 100 %.
 *
 * El signo no se guarda aquí; se almacena en fs_motor_direction.
 */
volatile float fs_motor_duty_percent = 0.0f;

/*
 * Dirección actual del motor:
 *
 *   +1 = canal 1 activo.
 *   -1 = canal 2 activo.
 *    0 = motor detenido.
 */
volatile int8_t fs_motor_direction = 0;

/*
 * Cambio de cuentas del encoder durante el último periodo de cálculo.
 */
volatile int16_t fs_encoder_delta = 0;

/*
 * Posición acumulada del encoder.
 */
volatile int32_t fs_encoder_position_counts = 0;

/*
 * Velocidad del encoder expresada en cuentas por segundo.
 */
volatile float fs_encoder_counts_per_second = 0.0f;

/* -------------------------------------------------------------------------- */
/* Diagnóstico de orientación instantánea                                     */
/* -------------------------------------------------------------------------- */

/*
 * Validez final del cálculo de orientación accel + mag.
 */
volatile uint8_t fs_orientation_valid = 0U;

/*
 * Indica si la magnitud del acelerómetro está dentro del rango esperado.
 */
volatile uint8_t fs_accel_reliable = 0U;

/*
 * Indica si la magnitud del magnetómetro está dentro del rango esperado.
 */
volatile uint8_t fs_mag_reliable = 0U;

/*
 * Código de retorno de FS_Orientation_Compute().
 */
volatile uint8_t fs_orientation_status = 0U;

/*
 * Magnitudes totales de los vectores de la IMU.
 */
volatile float fs_accel_magnitude_g = 0.0f;
volatile float fs_gyro_magnitude_dps = 0.0f;
volatile float fs_mag_magnitude_gauss = 0.0f;

/* -------------------------------------------------------------------------- */
/* Vectores de referencia expresados en coordenadas del cuerpo                */
/* -------------------------------------------------------------------------- */

/*
 * Vector unitario que representa la dirección Arriba.
 */
volatile float fs_up_body_x = 0.0f;
volatile float fs_up_body_y = 0.0f;
volatile float fs_up_body_z = 0.0f;

/*
 * Vector unitario que representa la dirección Norte.
 */
volatile float fs_north_body_x = 0.0f;
volatile float fs_north_body_y = 0.0f;
volatile float fs_north_body_z = 0.0f;

/*
 * Vector unitario que representa la dirección Este.
 */
volatile float fs_east_body_x = 0.0f;
volatile float fs_east_body_y = 0.0f;
volatile float fs_east_body_z = 0.0f;

/* -------------------------------------------------------------------------- */
/* Ejes del cuerpo expresados en el marco mundial ENU                         */
/* -------------------------------------------------------------------------- */

/*
 * Eje X del FloatSat expresado como:
 *
 *   [Este, Norte, Arriba]
 */
volatile float fs_body_x_world_x = 0.0f;
volatile float fs_body_x_world_y = 0.0f;
volatile float fs_body_x_world_z = 0.0f;

/*
 * Eje Y del FloatSat expresado en el mundo.
 */
volatile float fs_body_y_world_x = 0.0f;
volatile float fs_body_y_world_y = 0.0f;
volatile float fs_body_y_world_z = 0.0f;

/*
 * Eje Z del FloatSat expresado en el mundo.
 */
volatile float fs_body_z_world_x = 0.0f;
volatile float fs_body_z_world_y = 0.0f;
volatile float fs_body_z_world_z = 0.0f;

/* -------------------------------------------------------------------------- */
/* Ángulos finales de actitud                                                */
/* -------------------------------------------------------------------------- */

volatile float fs_roll_deg = 0.0f;   /* Rotación alrededor del eje X. */
volatile float fs_pitch_deg = 0.0f;  /* Rotación alrededor del eje Y. */
volatile float fs_yaw_deg = 0.0f;    /* Rumbo alrededor del eje vertical. */
volatile float fs_tilt_deg = 0.0f;   /* Inclinación total del eje Z. */

/* -------------------------------------------------------------------------- */
/* Estado general de la IMU                                                  */
/* -------------------------------------------------------------------------- */

/*
 * Indica si FS_IMU_Init() terminó correctamente.
 */
volatile uint8_t fs_imu_initialized = 0U;

/*
 * Indica si la última muestra completa fue válida.
 */
volatile uint8_t fs_imu_sample_valid = 0U;

/*
 * Cantidad de muestras válidas leídas.
 */
volatile uint32_t fs_imu_sample_count = 0U;

/*
 * Cantidad de errores durante las lecturas I2C de la IMU.
 */
volatile uint32_t fs_imu_read_errors = 0U;

/*
 * Marca de tiempo de la última muestra.
 */
volatile uint32_t fs_imu_timestamp_ms = 0U;

/* -------------------------------------------------------------------------- */
/* Mediciones raw de la IMU                                                  */
/* -------------------------------------------------------------------------- */

/*
 * Lecturas enteras originales del acelerómetro.
 */
volatile int16_t fs_accel_x_raw = 0;
volatile int16_t fs_accel_y_raw = 0;
volatile int16_t fs_accel_z_raw = 0;

/*
 * Lecturas enteras originales del giroscopio.
 */
volatile int16_t fs_gyro_x_raw = 0;
volatile int16_t fs_gyro_y_raw = 0;
volatile int16_t fs_gyro_z_raw = 0;

/*
 * Lecturas enteras originales del magnetómetro.
 */
volatile int16_t fs_mag_x_raw = 0;
volatile int16_t fs_mag_y_raw = 0;
volatile int16_t fs_mag_z_raw = 0;

/* -------------------------------------------------------------------------- */
/* Mediciones escaladas de la IMU                                             */
/* -------------------------------------------------------------------------- */

/*
 * Acelerómetro en unidades g.
 */
volatile float fs_accel_x_g = 0.0f;
volatile float fs_accel_y_g = 0.0f;
volatile float fs_accel_z_g = 0.0f;

/*
 * Giroscopio en grados por segundo.
 */
volatile float fs_gyro_x_dps = 0.0f;
volatile float fs_gyro_y_dps = 0.0f;
volatile float fs_gyro_z_dps = 0.0f;

/*
 * Magnetómetro en gauss.
 */
volatile float fs_mag_x_gauss = 0.0f;
volatile float fs_mag_y_gauss = 0.0f;
volatile float fs_mag_z_gauss = 0.0f;

/* -------------------------------------------------------------------------- */
/* Variables generales de diagnóstico                                        */
/* -------------------------------------------------------------------------- */

/*
 * Estado lógico del pulsador de usuario.
 */
volatile uint8_t fs_button_pressed = 0U;

/*
 * Contadores de ejecución de cada tarea.
 *
 * Permiten comprobar desde el depurador que las tareas siguen ejecutándose.
 */
volatile uint32_t fs_sensor_cycles = 0U;
volatile uint32_t fs_control_cycles = 0U;
volatile uint32_t fs_supervisor_cycles = 0U;
volatile uint32_t fs_mission_cycles = 0U;
volatile uint32_t fs_telemetry_cycles = 0U;

/*
 * Cuenta instantánea del temporizador utilizado como encoder.
 */
volatile int16_t fs_encoder_count = 0;

/*
 * Banderas de inicialización de periféricos.
 */
volatile uint8_t fs_pwm_started = 0U;
volatile uint8_t fs_encoder_started = 0U;

/* -------------------------------------------------------------------------- */
/* Detección y diagnóstico I2C de la IMU                                      */
/* -------------------------------------------------------------------------- */

/*
 * Indica si ambos bloques del LSM9DS1 fueron detectados.
 */
volatile uint8_t fs_imu_detected = 0U;

/*
 * Resultado individual de la detección:
 *
 *   AG  = acelerómetro + giroscopio.
 *   MAG = magnetómetro.
 */
volatile uint8_t fs_imu_ag_detected = 0U;
volatile uint8_t fs_imu_mag_detected = 0U;

/*
 * Direcciones I2C de 7 bits detectadas.
 */
volatile uint8_t fs_imu_ag_address = 0U;
volatile uint8_t fs_imu_mag_address = 0U;

/*
 * Valores leídos desde los registros WHO_AM_I.
 */
volatile uint8_t fs_imu_ag_whoami = 0U;
volatile uint8_t fs_imu_mag_whoami = 0U;

/*
 * Último estado retornado por el driver de la IMU.
 */
volatile uint8_t fs_imu_status =
    (uint8_t)FS_IMU_STATUS_BOTH_NOT_FOUND;

/*
 * Cantidad de intentos realizados para detectar la IMU.
 */
volatile uint32_t fs_imu_detection_attempts = 0U;

/*
 * Último código de error registrado por el periférico I2C.
 */
volatile uint32_t fs_i2c_error = 0U;

/* -------------------------------------------------------------------------- */
/* Calibración del magnetómetro                                               */
/* -------------------------------------------------------------------------- */

/*
 * Solicitud externa para iniciar una nueva calibración.
 */
volatile uint8_t fs_mag_calibration_request = 0U;

/*
 * Indica si actualmente se están recolectando muestras.
 */
volatile uint8_t fs_mag_calibration_running = 0U;

/*
 * Indica si los parámetros calculados son válidos.
 */
volatile uint8_t fs_mag_calibration_valid = 0U;

/*
 * Estado actual del proceso de calibración.
 */
volatile uint8_t fs_mag_calibration_status =
    (uint8_t)FS_MAG_CAL_IDLE;

/*
 * Cantidad de muestras utilizadas.
 */
volatile uint32_t fs_mag_calibration_samples = 0U;

/*
 * Tiempo transcurrido desde el inicio de la calibración.
 */
volatile uint32_t fs_mag_calibration_elapsed_ms = 0U;

/*
 * Valores mínimos encontrados en cada eje.
 */
volatile float fs_mag_min_x_gauss = 0.0f;
volatile float fs_mag_min_y_gauss = 0.0f;
volatile float fs_mag_min_z_gauss = 0.0f;

/*
 * Valores máximos encontrados en cada eje.
 */
volatile float fs_mag_max_x_gauss = 0.0f;
volatile float fs_mag_max_y_gauss = 0.0f;
volatile float fs_mag_max_z_gauss = 0.0f;

/*
 * Offset de hard-iron calculado para cada eje.
 */
volatile float fs_mag_bias_x_gauss = 0.0f;
volatile float fs_mag_bias_y_gauss = 0.0f;
volatile float fs_mag_bias_z_gauss = 0.0f;

/*
 * Semiamplitud observada en cada eje.
 */
volatile float fs_mag_half_range_x_gauss = 0.0f;
volatile float fs_mag_half_range_y_gauss = 0.0f;
volatile float fs_mag_half_range_z_gauss = 0.0f;

/*
 * Factores de corrección de escala.
 */
volatile float fs_mag_scale_x = 1.0f;
volatile float fs_mag_scale_y = 1.0f;
volatile float fs_mag_scale_z = 1.0f;

/*
 * Radio promedio estimado del campo magnético.
 */
volatile float fs_mag_average_radius_gauss = 0.0f;

/*
 * Relación entre el menor y el mayor radio medido.
 */
volatile float fs_mag_calibration_quality = 0.0f;

/*
 * Lecturas magnéticas después de restar bias y aplicar escalas.
 */
volatile float fs_mag_x_corrected_gauss = 0.0f;
volatile float fs_mag_y_corrected_gauss = 0.0f;
volatile float fs_mag_z_corrected_gauss = 0.0f;

/* -------------------------------------------------------------------------- */
/* Calibración del giroscopio                                                 */
/* -------------------------------------------------------------------------- */

/*
 * Solicitud externa para iniciar la calibración.
 */
volatile uint8_t fs_gyro_calibration_request = 0U;

/*
 * Indica si se están recolectando muestras.
 */
volatile uint8_t fs_gyro_calibration_running = 0U;

/*
 * Indica si el bias calculado es válido.
 */
volatile uint8_t fs_gyro_calibration_valid = 0U;

/*
 * Estado actual del proceso.
 */
volatile uint8_t fs_gyro_calibration_status =
    (uint8_t)FS_GYRO_CAL_IDLE;

/*
 * Cantidad de muestras válidas aceptadas.
 */
volatile uint32_t fs_gyro_calibration_samples = 0U;

/*
 * Cantidad de muestras descartadas por movimiento o aceleración.
 */
volatile uint32_t fs_gyro_calibration_rejected_samples = 0U;

/*
 * Cantidad de veces que se ha reiniciado la calibración.
 */
volatile uint32_t fs_gyro_calibration_restart_count = 0U;

/*
 * Tiempo transcurrido durante la calibración.
 */
volatile uint32_t fs_gyro_calibration_elapsed_ms = 0U;

/*
 * Progreso calculado entre 0 y 100 %.
 */
volatile uint8_t fs_gyro_calibration_progress_percent = 0U;

/*
 * Bias promedio del giroscopio.
 */
volatile float fs_gyro_bias_x_dps = 0.0f;
volatile float fs_gyro_bias_y_dps = 0.0f;
volatile float fs_gyro_bias_z_dps = 0.0f;

/*
 * Mediciones después de restar el bias.
 */
volatile float fs_gyro_x_corrected_dps = 0.0f;
volatile float fs_gyro_y_corrected_dps = 0.0f;
volatile float fs_gyro_z_corrected_dps = 0.0f;

/* -------------------------------------------------------------------------- */
/* Diagnóstico y salida del filtro Madgwick                                   */
/* -------------------------------------------------------------------------- */

/*
 * Indica si el filtro recibió una orientación inicial válida.
 */
volatile uint8_t fs_madgwick_initialized = 0U;

/*
 * Indica si el cuaternión actual es válido.
 */
volatile uint8_t fs_madgwick_valid = 0U;

/*
 * Último estado retornado por el filtro.
 */
volatile uint8_t fs_madgwick_status =
    (uint8_t)FS_MADGWICK_OK;

/*
 * Último modo de actualización:
 *
 *   GYRO_ONLY, IMU o MARG.
 */
volatile uint8_t fs_madgwick_mode =
    (uint8_t)FS_MADGWICK_MODE_GYRO_ONLY;

/*
 * Solicitud para reiniciar e inicializar nuevamente el filtro.
 */
volatile uint8_t fs_madgwick_reset_request = 0U;

/*
 * Cantidad de actualizaciones realizadas.
 */
volatile uint32_t fs_madgwick_update_count = 0U;

/*
 * Ganancia beta utilizada por el filtro.
 */
volatile float fs_madgwick_beta =
    FS_MADGWICK_BETA_DEFAULT;

/*
 * Componentes del cuaternión actual.
 *
 * Se inicia como cuaternión identidad:
 *
 *   q = [1, 0, 0, 0]
 */
volatile float fs_madgwick_q0 = 1.0f;
volatile float fs_madgwick_q1 = 0.0f;
volatile float fs_madgwick_q2 = 0.0f;
volatile float fs_madgwick_q3 = 0.0f;

/* -------------------------------------------------------------------------- */
/* Orientación estática accel + mag                                           */
/* -------------------------------------------------------------------------- */

/*
 * Ángulos calculados sin integrar el giroscopio.
 *
 * Se conservan para comparar la orientación instantánea contra
 * la salida filtrada de Madgwick.
 */
volatile float fs_static_roll_deg = 0.0f;
volatile float fs_static_pitch_deg = 0.0f;
volatile float fs_static_yaw_deg = 0.0f;

/* -------------------------------------------------------------------------- */
/* Diagnóstico de recuperación del bus I2C1                                   */
/* -------------------------------------------------------------------------- */

/*
 * Niveles lógicos de SCL y SDA medidos durante la recuperación.
 */
volatile uint8_t fs_i2c_scl_level = 0U;
volatile uint8_t fs_i2c_sda_level = 0U;

/*
 * Indica si el periférico I2C sigue reportando el bus ocupado.
 */
volatile uint8_t fs_i2c_bus_busy = 0U;

/*
 * Cantidad de veces que se ha ejecutado la recuperación del bus.
 */
volatile uint32_t fs_i2c_recovery_count = 0U;

/* USER CODE END Variables */

/* -------------------------------------------------------------------------- */
/* Definición de tareas FreeRTOS                                              */
/* -------------------------------------------------------------------------- */

/*
 * Identificador de SensorTask.
 *
 * SensorTask debería encargarse de:
 *
 *   - Inicializar y leer la IMU.
 *   - Ejecutar calibraciones.
 *   - Actualizar orientación y Madgwick.
 */
osThreadId_t SensorTaskHandle;

const osThreadAttr_t SensorTask_attributes =
{
  .name = "SensorTask",

  /*
   * CMSIS-RTOS2 expresa stack_size en bytes.
   *
   * 512 * 4 = 2048 bytes.
   */
  .stack_size = 512 * 4,

  /*
   * Prioridad alta para mantener estable la frecuencia de muestreo.
   */
  .priority = (osPriority_t) osPriorityHigh,
};

/*
 * Identificador y configuración de ControlTask.
 *
 * Esta tarea debería encargarse del control periódico del motor
 * y del encoder.
 */
osThreadId_t ControlTaskHandle;

const osThreadAttr_t ControlTask_attributes =
{
  .name = "ControlTask",
  .stack_size = 512 * 4,  /* 2048 bytes. */
  .priority = (osPriority_t) osPriorityHigh,
};

/*
 * SupervisorTask debería supervisar errores, estados y recuperación.
 */
osThreadId_t SupervisorTaskHandle;

const osThreadAttr_t SupervisorTask_attributes =
{
  .name = "SupervisorTask",
  .stack_size = 384 * 4,  /* 1536 bytes. */
  .priority = (osPriority_t) osPriorityAboveNormal,
};

/*
 * MissionTask debería ejecutar la máquina de estados de misión.
 */
osThreadId_t MissionTaskHandle;

const osThreadAttr_t MissionTask_attributes =
{
  .name = "MissionTask",
  .stack_size = 384 * 4,  /* 1536 bytes. */
  .priority = (osPriority_t) osPriorityNormal,
};

/*
 * TelemetryTask debería transmitir variables hacia el exterior,
 * por ejemplo mediante UART y HC-05.
 */
osThreadId_t TelemetryTaskHandle;

const osThreadAttr_t TelemetryTask_attributes =
{
  .name = "TelemetryTask",
  .stack_size = 256 * 4,  /* 1024 bytes. */
  .priority = (osPriority_t) osPriorityLow,
};

/* USER CODE BEGIN FunctionPrototypes */

/*
 * Funciones de entrada de las cinco tareas.
 */
void StartSensorTask(void *argument);
void StartControlTask(void *argument);
void StartSupervisorTask(void *argument);
void StartMissionTask(void *argument);
void StartTelemetryTask(void *argument);

/*
 * Recupera el bus I2C1 cuando un dispositivo mantiene SDA en nivel bajo
 * o el periférico permanece en estado BUSY.
 */
static void FS_I2C1_BusRecovery(void);

/*
 * Detiene inmediatamente ambos canales PWM del motor.
 */
static void FS_MotorStop(void);

/*
 * Aplica un duty firmado:
 *
 *   positivo -> canal 1;
 *   negativo -> canal 2;
 *   cero     -> ambos canales apagados.
 */
static void FS_MotorSetSignedDuty(float signed_duty_percent);

/* USER CODE END FunctionPrototypes */

/*
 * Prototipos generados por CubeMX.
 *
 * Se repiten respecto al bloque anterior, pero las declaraciones
 * duplicadas son compatibles mientras las firmas sean idénticas.
 */
void StartSensorTask(void *argument);
void StartControlTask(void *argument);
void StartSupervisorTask(void *argument);
void StartMissionTask(void *argument);
void StartTelemetryTask(void *argument);

/*
 * Inicialización de los objetos de FreeRTOS.
 *
 * El comentario MISRA indica que se declara explícitamente el tipo
 * de retorno de la función.
 */
void MX_FREERTOS_Init(void); /* (MISRA C 2004 rule 8.1) */

/**
  * @brief Inicializa los objetos utilizados por FreeRTOS.
  *
  * En esta versión solamente se crean tareas.
  *
  * No se crean:
  *
  *   - Mutexes.
  *   - Semáforos.
  *   - Timers de software.
  *   - Colas.
  *
  * @param  None
  * @retval None
  */
void MX_FREERTOS_Init(void)
{
  /* USER CODE BEGIN Init */

  /*
   * Espacio reservado para inicializaciones que deban ocurrir
   * antes de crear los objetos RTOS.
   */

  /* USER CODE END Init */

  /* USER CODE BEGIN RTOS_MUTEX */

  /*
   * Aquí podrían crearse mutexes para proteger recursos compartidos,
   * como I2C, UART o estructuras de telemetría.
   */

  /* USER CODE END RTOS_MUTEX */

  /* USER CODE BEGIN RTOS_SEMAPHORES */

  /*
   * Aquí podrían crearse semáforos para sincronizar tareas
   * e interrupciones.
   */

  /* USER CODE END RTOS_SEMAPHORES */

  /* USER CODE BEGIN RTOS_TIMERS */

  /*
   * Aquí podrían crearse timers de software de FreeRTOS.
   */

  /* USER CODE END RTOS_TIMERS */

  /* USER CODE BEGIN RTOS_QUEUES */

  /*
   * Aquí podrían crearse colas para transferir muestras o comandos
   * entre tareas sin depender directamente de variables globales.
   */

  /* USER CODE END RTOS_QUEUES */

  /* Create the thread(s) */

  /*
   * Crear SensorTask.
   *
   * NULL indica que no se le entrega ningún argumento inicial.
   */
  SensorTaskHandle =
      osThreadNew(StartSensorTask,
                  NULL,
                  &SensorTask_attributes);

  /*
   * Crear ControlTask.
   */
  ControlTaskHandle =
      osThreadNew(StartControlTask,
                  NULL,
                  &ControlTask_attributes);

  /*
   * Crear SupervisorTask.
   */
  SupervisorTaskHandle =
      osThreadNew(StartSupervisorTask,
                  NULL,
                  &SupervisorTask_attributes);

  /*
   * Crear MissionTask.
   */
  MissionTaskHandle =
      osThreadNew(StartMissionTask,
                  NULL,
                  &MissionTask_attributes);

  /*
   * Crear TelemetryTask.
   */
  TelemetryTaskHandle =
      osThreadNew(StartTelemetryTask,
                  NULL,
                  &TelemetryTask_attributes);

  /* USER CODE BEGIN RTOS_THREADS */

  /*
   * Aquí podrían crearse tareas adicionales no generadas por CubeMX.
   */

  /* USER CODE END RTOS_THREADS */

  /* USER CODE BEGIN RTOS_EVENTS */

  /*
   * Aquí podrían crearse banderas de eventos.
   */

  /* USER CODE END RTOS_EVENTS */
}

/* USER CODE BEGIN Header_StartSensorTask */
/**
  * @brief Función asociada a SensorTask.
  *
  * @param argument Argumento entregado durante osThreadNew().
  *                 Actualmente no se utiliza.
  *
  * @retval None
  */
/* USER CODE END Header_StartSensorTask */

/*
 * __weak permite que esta función sea reemplazada por otra implementación
 * con el mismo nombre declarada sin __weak en otro archivo.
 *
 * Si no existe una implementación fuerte en otro archivo, se ejecutará
 * este bucle vacío.
 */
__weak void StartSensorTask(void *argument)
{
  /* USER CODE BEGIN StartSensorTask */

  /*
   * Bucle infinito obligatorio para una tarea permanente.
   */
  for (;;)
  {
    /*
     * Ceder el procesador durante al menos un tick del RTOS.
     */
    osDelay(1);
  }

  /* USER CODE END StartSensorTask */
}

/* USER CODE BEGIN Header_StartControlTask */
/**
  * @brief Función asociada a ControlTask.
  *
  * @param argument Argumento opcional de la tarea.
  * @retval None
  */
/* USER CODE END Header_StartControlTask */

__weak void StartControlTask(void *argument)
{
  /* USER CODE BEGIN StartControlTask */

  /*
   * Implementación vacía por defecto.
   *
   * Si no se reemplaza, no se realizará control del motor.
   */
  for (;;)
  {
    osDelay(1);
  }

  /* USER CODE END StartControlTask */
}

/* USER CODE BEGIN Header_StartSupervisorTask */
/**
  * @brief Función asociada a SupervisorTask.
  *
  * @param argument Argumento opcional.
  * @retval None
  */
/* USER CODE END Header_StartSupervisorTask */

__weak void StartSupervisorTask(void *argument)
{
  /* USER CODE BEGIN StartSupervisorTask */

  /*
   * Implementación vacía por defecto.
   */
  for (;;)
  {
    osDelay(1);
  }

  /* USER CODE END StartSupervisorTask */
}

/* USER CODE BEGIN Header_StartMissionTask */
/**
  * @brief Función asociada a MissionTask.
  *
  * @param argument Argumento opcional.
  * @retval None
  */
/* USER CODE END Header_StartMissionTask */

__weak void StartMissionTask(void *argument)
{
  /* USER CODE BEGIN StartMissionTask */

  /*
   * Implementación vacía por defecto.
   *
   * Sin una implementación alternativa no se ejecutará
   * FS_Mission_Update().
   */
  for (;;)
  {
    osDelay(1);
  }

  /* USER CODE END StartMissionTask */
}

/* USER CODE BEGIN Header_StartTelemetryTask */
/**
  * @brief Función asociada a TelemetryTask.
  *
  * @param argument Argumento opcional.
  * @retval None
  */
/* USER CODE END Header_StartTelemetryTask */

__weak void StartTelemetryTask(void *argument)
{
  /* USER CODE BEGIN StartTelemetryTask */

  /*
   * Implementación vacía por defecto.
   *
   * Sin una implementación alternativa no se enviará telemetría.
   */
  for (;;)
  {
    osDelay(1);
  }

  /* USER CODE END StartTelemetryTask */
}

/* USER CODE BEGIN Application */

/* -------------------------------------------------------------------------- */
/* Detención del motor                                                       */
/* -------------------------------------------------------------------------- */

/**
 * @brief Detiene el motor apagando ambos canales PWM.
 *
 * Se colocan en cero:
 *
 *   TIM1 canal 1.
 *   TIM1 canal 2.
 *
 * También se actualizan las variables de diagnóstico.
 */
static void FS_MotorStop(void)
{
  /*
   * Apagar el canal correspondiente al primer sentido.
   */
  __HAL_TIM_SET_COMPARE(&htim1,
                        TIM_CHANNEL_1,
                        0U);

  /*
   * Apagar el canal correspondiente al sentido contrario.
   */
  __HAL_TIM_SET_COMPARE(&htim1,
                        TIM_CHANNEL_2,
                        0U);

  /*
   * Actualizar telemetría y estado interno.
   */
  fs_motor_pwm_compare = 0U;
  fs_motor_duty_percent = 0.0f;
  fs_motor_direction = 0;
}

/* -------------------------------------------------------------------------- */
/* Aplicación de duty firmado                                                */
/* -------------------------------------------------------------------------- */

/**
 * @brief Aplica un duty firmado al motor.
 *
 * Interpretación:
 *
 *   signed_duty_percent > 0
 *       canal 1 activo y canal 2 apagado.
 *
 *   signed_duty_percent < 0
 *       canal 1 apagado y canal 2 activo.
 *
 *   signed_duty_percent = 0
 *       ambos canales apagados.
 *
 * @param signed_duty_percent Duty solicitado entre -100 y +100 %.
 */
static void FS_MotorSetSignedDuty(float signed_duty_percent)
{
  /*
   * Magnitud absoluta del duty.
   */
  float duty_magnitude;

  /*
   * Cantidad total de cuentas de un periodo PWM.
   */
  uint32_t period_counts;

  /*
   * Valor que se escribirá en el registro CCR del temporizador.
   */
  uint32_t compare_counts;

  /*
   * Obtener la magnitud del duty sin utilizar fabsf().
   */
  duty_magnitude =
      (signed_duty_percent >= 0.0f)
      ? signed_duty_percent
      : -signed_duty_percent;

  /*
   * Limitar la magnitud máxima a 100 %.
   */
  if (duty_magnitude > 100.0f)
  {
    duty_magnitude = 100.0f;
  }

  /*
   * Considerar cualquier valor menor de 0.01 % como cero.
   *
   * Esto evita mantener residuos numéricos muy pequeños.
   */
  if (duty_magnitude < 0.01f)
  {
    FS_MotorStop();
    return;
  }

  /*
   * El registro ARR contiene el valor máximo contado por el timer.
   *
   * La cantidad matemática de cuentas del periodo es:
   *
   *   ARR + 1
   */
  period_counts =
      __HAL_TIM_GET_AUTORELOAD(&htim1) + 1U;

  /*
   * Convertir porcentaje a cuentas:
   *
   *   compare = periodo * duty / 100
   */
  compare_counts =
      (uint32_t)(((float)period_counts *
                  duty_magnitude) /
                 100.0f);

  /*
   * El registro de comparación no debe superar ARR.
   */
  if (compare_counts >
      __HAL_TIM_GET_AUTORELOAD(&htim1))
  {
    compare_counts =
        __HAL_TIM_GET_AUTORELOAD(&htim1);
  }

  /*
   * Duty positivo:
   *
   * activar canal 1 y apagar canal 2.
   */
  if (signed_duty_percent > 0.0f)
  {
    __HAL_TIM_SET_COMPARE(&htim1,
                          TIM_CHANNEL_1,
                          compare_counts);

    __HAL_TIM_SET_COMPARE(&htim1,
                          TIM_CHANNEL_2,
                          0U);

    fs_motor_direction = 1;
  }
  else
  {
    /*
     * Duty negativo:
     *
     * apagar canal 1 y activar canal 2.
     */
    __HAL_TIM_SET_COMPARE(&htim1,
                          TIM_CHANNEL_1,
                          0U);

    __HAL_TIM_SET_COMPARE(&htim1,
                          TIM_CHANNEL_2,
                          compare_counts);

    fs_motor_direction = -1;
  }

  /*
   * Guardar el valor de comparación para diagnóstico.
   */
  fs_motor_pwm_compare =
      (uint16_t)compare_counts;

  /*
   * Guardar solamente la magnitud.
   *
   * El sentido se obtiene de fs_motor_direction.
   */
  fs_motor_duty_percent =
      duty_magnitude;
}

/* -------------------------------------------------------------------------- */
/* Recuperación del bus I2C1                                                 */
/* -------------------------------------------------------------------------- */

/**
 * @brief Intenta liberar un bus I2C1 bloqueado.
 *
 * Un bus I2C puede quedar bloqueado cuando un esclavo mantiene SDA
 * en nivel bajo, por ejemplo si una transacción fue interrumpida
 * antes de completarse.
 *
 * Secuencia utilizada:
 *
 *   1. Desinicializar I2C1.
 *   2. Reiniciar el periférico mediante RCC.
 *   3. Convertir SCL y SDA temporalmente en GPIO open-drain.
 *   4. Generar hasta nueve pulsos de reloj.
 *   5. Generar una condición STOP manual.
 *   6. Restaurar la configuración I2C.
 *   7. Comprobar si el bus sigue ocupado.
 *
 * Esta función utiliza osDelay(), por lo que está diseñada para
 * ejecutarse desde una tarea después de iniciar el kernel.
 */
static void FS_I2C1_BusRecovery(void)
{
  /*
   * Estructura temporal para configurar PB8 y PB9 como GPIO.
   */
  GPIO_InitTypeDef GPIO_InitStruct = {0};

  /*
   * Contador de pulsos manuales de reloj.
   */
  uint32_t pulse;

  /*
   * Registrar un nuevo intento de recuperación.
   */
  fs_i2c_recovery_count++;

  /*
   * Deshabilitar y desinicializar el periférico I2C1.
   */
  HAL_I2C_DeInit(&hi2c1);

  /*
   * Aplicar un reset hardware interno al periférico I2C1.
   */
  __HAL_RCC_I2C1_FORCE_RESET();

  /*
   * Esperar un tick antes de liberar el reset.
   */
  osDelay(1U);

  __HAL_RCC_I2C1_RELEASE_RESET();

  /*
   * Garantizar que el reloj del puerto GPIOB esté habilitado.
   */
  __HAL_RCC_GPIOB_CLK_ENABLE();

  /*
   * PB8 se utiliza como SCL.
   * PB9 se utiliza como SDA.
   */
  GPIO_InitStruct.Pin =
      GPIO_PIN_8 | GPIO_PIN_9;

  /*
   * Salidas open-drain, como requiere físicamente el bus I2C.
   */
  GPIO_InitStruct.Mode =
      GPIO_MODE_OUTPUT_OD;

  /*
   * Pull-up interno.
   *
   * Normalmente el bus también debería tener resistencias pull-up externas.
   */
  GPIO_InitStruct.Pull =
      GPIO_PULLUP;

  /*
   * Velocidad baja suficiente para los pulsos manuales.
   */
  GPIO_InitStruct.Speed =
      GPIO_SPEED_FREQ_LOW;

  /*
   * Aplicar la configuración temporal.
   */
  HAL_GPIO_Init(GPIOB,
                &GPIO_InitStruct);

  /*
   * Liberar ambas líneas.
   *
   * En open-drain, escribir SET deja que las resistencias pull-up
   * eleven la señal.
   */
  HAL_GPIO_WritePin(GPIOB,
                    GPIO_PIN_8 | GPIO_PIN_9,
                    GPIO_PIN_SET);

  osDelay(1U);

  /*
   * Generar hasta nueve pulsos en SCL.
   *
   * Nueve pulsos permiten que un dispositivo esclavo complete
   * la recepción o transmisión del byte pendiente.
   */
  for (pulse = 0U;
       pulse < 9U;
       pulse++)
  {
    /*
     * Si SDA ya está alta, el esclavo dejó de bloquear el bus
     * y no es necesario seguir generando pulsos.
     */
    if (HAL_GPIO_ReadPin(GPIOB,
                         GPIO_PIN_9) == GPIO_PIN_SET)
    {
      break;
    }

    /*
     * Llevar SCL a nivel bajo.
     */
    HAL_GPIO_WritePin(GPIOB,
                      GPIO_PIN_8,
                      GPIO_PIN_RESET);

    osDelay(1U);

    /*
     * Liberar SCL para generar el flanco ascendente.
     */
    HAL_GPIO_WritePin(GPIOB,
                      GPIO_PIN_8,
                      GPIO_PIN_SET);

    osDelay(1U);
  }

  /*
   * Generar una condición STOP manual.
   *
   * Secuencia:
   *
   *   1. SCL baja y SDA baja.
   *   2. SCL sube mientras SDA permanece baja.
   *   3. SDA sube mientras SCL permanece alta.
   */

  /*
   * SCL baja.
   */
  HAL_GPIO_WritePin(GPIOB,
                    GPIO_PIN_8,
                    GPIO_PIN_RESET);

  /*
   * SDA baja.
   */
  HAL_GPIO_WritePin(GPIOB,
                    GPIO_PIN_9,
                    GPIO_PIN_RESET);

  osDelay(1U);

  /*
   * SCL alta.
   */
  HAL_GPIO_WritePin(GPIOB,
                    GPIO_PIN_8,
                    GPIO_PIN_SET);

  osDelay(1U);

  /*
   * SDA alta con SCL alta: condición STOP.
   */
  HAL_GPIO_WritePin(GPIOB,
                    GPIO_PIN_9,
                    GPIO_PIN_SET);

  osDelay(1U);

  /*
   * Registrar el estado físico de SCL.
   */
  fs_i2c_scl_level =
      (HAL_GPIO_ReadPin(GPIOB,
                        GPIO_PIN_8) == GPIO_PIN_SET)
      ? 1U
      : 0U;

  /*
   * Registrar el estado físico de SDA.
   */
  fs_i2c_sda_level =
      (HAL_GPIO_ReadPin(GPIOB,
                        GPIO_PIN_9) == GPIO_PIN_SET)
      ? 1U
      : 0U;

  /*
   * Eliminar la configuración GPIO temporal.
   */
  HAL_GPIO_DeInit(GPIOB,
                  GPIO_PIN_8 | GPIO_PIN_9);

  /*
   * Restaurar PB8, PB9 y el periférico I2C1 mediante
   * la función generada por CubeMX.
   */
  MX_I2C1_Init();

  /*
   * Comprobar si el periférico todavía indica BUSY.
   */
  fs_i2c_bus_busy =
      (__HAL_I2C_GET_FLAG(&hi2c1,
                          I2C_FLAG_BUSY) != RESET)
      ? 1U
      : 0U;
}

/* USER CODE END Application */
